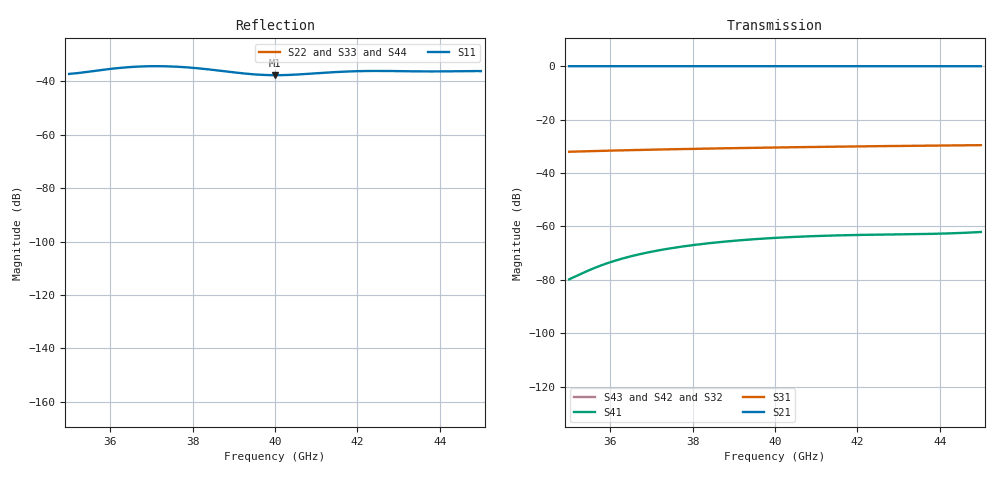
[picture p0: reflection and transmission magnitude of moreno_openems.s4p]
! Moreno cross-guide coupler, openEMS FDTD
! only column 1 (port 1 excited) and, by reciprocity, row 1 are simulated; other entries are zero
! S-parameters are normalised to each port's TE10 wave impedance (generalised
! S-matrix); 'R 50' below is only the placeholder the format requires.
! Reference planes: edges of the common a x a square.
# GHz S MA R 50
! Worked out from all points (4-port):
!   201 points, 35 GHz to 45 GHz, reference 50 ohm
!   strongest paths, dB at 35 GHz, 37.5 GHz, 40 GHz, 42.5 GHz, 45 GHz:
!     S21: 0.0, 0.0, 0.0, 0.0, 0.0
!     S31: -32.0, -31.1, -30.5, -30.0, -29.6
!     S41: -79.8, -68.1, -64.3, -63.1, -62.1
!     S43: -, -, -, -, -
!     S42: -, -, -, -, -
!     S32: -, -, -, -, -
!   lowest |S11| = -37.7 dB at 40 GHz (marker M1), VSWR 1.03, Z = 51.3 + j0.359 ohm
!   |S11| at or under -10 dB: start of sweep to end of sweep
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35  0.01376 -144.9  0.999 -159.8  0.02499 110.2  0.0001021 121.5
    0.999 -159.8  0 0.0  0 0.0  0 0.0
    0.02499 110.2  0 0.0  0 0.0  0 0.0
    0.0001021 121.5  0 0.0  0 0.0  0 0.0
35.95  0.01691 -108.0  1 -169.7  0.02618 100.3  0.0002073 128.3
       1 -169.7  0 0.0  0 0.0  0 0.0
       0.02618 100.3  0 0.0  0 0.0  0 0.0
       0.0002073 128.3  0 0.0  0 0.0  0 0.0
36.95  0.01917 -82.3  1 -179.8  0.02728 90.2  0.0003298 115.3
       1 -179.8  0 0.0  0 0.0  0 0.0
       0.02728 90.2  0 0.0  0 0.0  0 0.0
       0.0003298 115.3  0 0.0  0 0.0  0 0.0
38.3  0.01701 -49.2  0.9994 167.0  0.02858 77.0  0.0004751 94.0
      0.9994 167.0  0 0.0  0 0.0  0 0.0
      0.02858 77.0  0 0.0  0 0.0  0 0.0
      0.0004751 94.0  0 0.0  0 0.0  0 0.0
40  0.01302 15.6  0.9994 150.9  0.03001 60.9  0.0006093 68.4
    0.9994 150.9  0 0.0  0 0.0  0 0.0
    0.03001 60.9  0 0.0  0 0.0  0 0.0
    0.0006093 68.4  0 0.0  0 0.0  0 0.0
42.6  0.01564 104.3  0.9998 127.1  0.03186 37.1  0.0007026 35.9
      0.9998 127.1  0 0.0  0 0.0  0 0.0
      0.03186 37.1  0 0.0  0 0.0  0 0.0
      0.0007026 35.9  0 0.0  0 0.0  0 0.0
45  0.01554 179.0  0.9986 105.8  0.0332 15.8  0.0007857 15.5
    0.9986 105.8  0 0.0  0 0.0  0 0.0
    0.0332 15.8  0 0.0  0 0.0  0 0.0
    0.0007857 15.5  0 0.0  0 0.0  0 0.0
